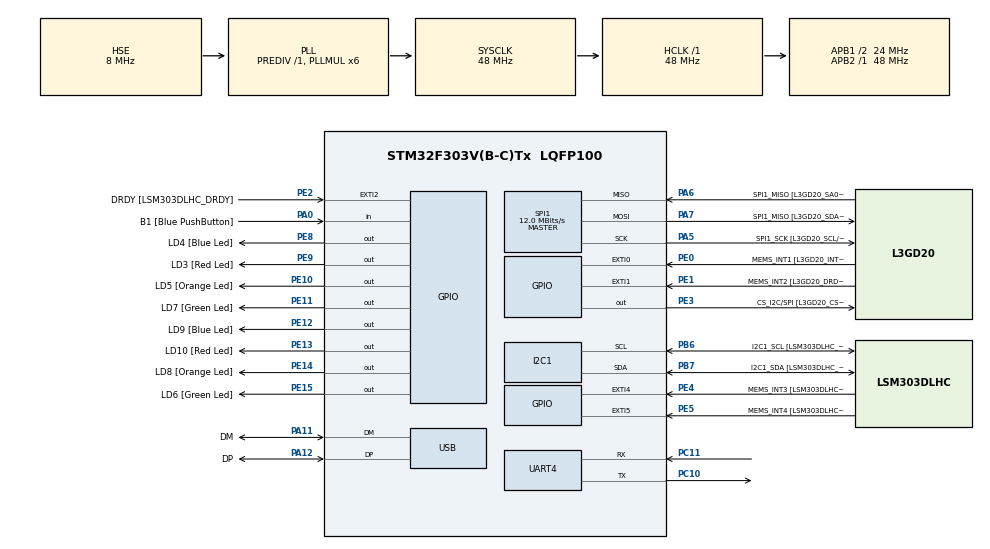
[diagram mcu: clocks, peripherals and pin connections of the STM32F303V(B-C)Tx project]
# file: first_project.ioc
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I2C1.Timing-I2C=0x2000090E
Mcu.Family=STM32F3
Mcu.Name=STM32F303V(B-C)Tx
Mcu.Package=LQFP100
NVIC.PriorityGroup=NVIC_PRIORITYGROUP_0
NVIC.USB_LP_CAN_RX0_IRQn=true\:0\:0\:false\:false\:true\:false\:true\:true
PA0.GPIO_Label=B1 [Blue PushButton]
PA0.Signal=GPIO_Input
PA11.GPIO_Label=DM
PA11.Mode=Device
PA11.Signal=USB_DM
PA12.GPIO_Label=DP
PA12.Mode=Device
PA12.Signal=USB_DP
PA13.GPIO_Label=SWDIO
PA13.Mode=Serial_Wire
PA13.Signal=SYS_JTMS-SWDIO
PA14.GPIO_Label=SWCLK
PA14.Mode=Serial_Wire
PA14.Signal=SYS_JTCK-SWCLK
PA5.GPIO_Label=SPI1_SCK [L3GD20_SCL/SPC]
PA5.Mode=Full_Duplex_Master
PA5.Signal=SPI1_SCK
PA6.GPIO_Label=SPI1_MISO [L3GD20_SA0/SDO]
PA6.Mode=Full_Duplex_Master
PA6.Signal=SPI1_MISO
PA7.GPIO_Label=SPI1_MISO [L3GD20_SDA/SDI/SDO]
PA7.Mode=Full_Duplex_Master
PA7.Signal=SPI1_MOSI
PB3.GPIO_Label=SWO
PB3.Signal=SYS_JTDO-TRACESWO
PB6.GPIO_Label=I2C1_SCL [LSM303DLHC_SCL]
PB6.GPIO_Pu=GPIO_PULLUP
PB6.Mode=I2C
PB6.Signal=I2C1_SCL
PB7.GPIO_Label=I2C1_SDA [LSM303DLHC_SDA]
PB7.GPIO_Pu=GPIO_PULLUP
PB7.Mode=I2C
PB7.Signal=I2C1_SDA
PC10.Mode=Asynchronous
PC10.Signal=UART4_TX
PC11.Mode=Asynchronous
PC11.Signal=UART4_RX
PC14-OSC32_IN.GPIO_Label=OSC32_IN
PC14-OSC32_IN.Signal=RCC_OSC32_IN
PC15-OSC32_OUT.GPIO_Label=OSC32_OUT
PC15-OSC32_OUT.Signal=RCC_OSC32_OUT
PE0.GPIO_Label=MEMS_INT1 [L3GD20_INT1]
PE0.GPIO_ModeDefaultEXTI=GPIO_MODE_EVT_RISING
PE0.Signal=GPXTI0
PE1.GPIO_Label=MEMS_INT2 [L3GD20_DRDY/INT2]
PE1.GPIO_ModeDefaultEXTI=GPIO_MODE_EVT_RISING
PE1.Signal=GPXTI1
PE10.GPIO_Label=LD5 [Orange Led]
PE10.Signal=GPIO_Output
PE11.GPIO_Label=LD7 [Green Led]
PE11.Signal=GPIO_Output
PE12.GPIO_Label=LD9 [Blue Led]
PE12.Signal=GPIO_Output
PE13.GPIO_Label=LD10 [Red Led]
PE13.Signal=GPIO_Output
PE14.GPIO_Label=LD8 [Orange Led]
PE14.Signal=GPIO_Output
PE15.GPIO_Label=LD6 [Green Led]
PE15.Signal=GPIO_Output
PE2.GPIO_Label=DRDY [LSM303DLHC_DRDY]
PE2.GPIO_ModeDefaultEXTI=GPIO_MODE_EVT_RISING
PE2.Signal=GPXTI2
PE3.GPIO_Label=CS_I2C/SPI [L3GD20_CS_I2C/SPI]
PE3.Signal=GPIO_Output
PE4.GPIO_Label=MEMS_INT3 [LSM303DLHC_INT1]
PE4.GPIO_ModeDefaultEXTI=GPIO_MODE_EVT_RISING
PE4.Signal=GPXTI4
PE5.GPIO_Label=MEMS_INT4 [LSM303DLHC_INT2]
PE5.GPIO_ModeDefaultEXTI=GPIO_MODE_EVT_RISING
PE5.Signal=GPXTI5
PE8.GPIO_Label=LD4 [Blue Led]
PE8.Signal=GPIO_Output
PE9.GPIO_Label=LD3 [Red Led]
PE9.Signal=GPIO_Output
PF0-OSC_IN.GPIO_Label=OSC_IN
PF0-OSC_IN.Mode=HSE-External-Clock-Source
PF0-OSC_IN.Signal=RCC_OSC_IN
PF1-OSC_OUT.GPIO_Label=OSC_OUT
PF1-OSC_OUT.Signal=RCC_OSC_OUT
ProjectManager.HeapSize=0x200
ProjectManager.StackSize=0x400
ProjectManager.TargetToolchain=Makefile
RCC.AHBFreq_Value=48000000
RCC.APB1CLKDivider=RCC_HCLK_DIV2
RCC.APB1Freq_Value=24000000
RCC.APB1TimFreq_Value=48000000
RCC.APB2Freq_Value=48000000
RCC.APB2TimFreq_Value=48000000
RCC.CortexFreq_Value=48000000
RCC.HCLKFreq_Value=48000000
RCC.HSE_VALUE=8000000
RCC.HSI_VALUE=8000000
RCC.LSE_VALUE=32768
RCC.PLLMUL=RCC_PLL_MUL6
RCC.SYSCLKFreq_VALUE=48000000
RCC.SYSCLKSourceVirtual=RCC_SYSCLKSOURCE_PLLCLK
RCC.USBFreq_Value=48000000
SPI1.BaudRatePrescaler=SPI_BAUDRATEPRESCALER_4
SPI1.BaudRatePrescaler-Full_Duplex_Master=SPI_BAUDRATEPRESCALER_2
SPI1.CalculateBaudRate=12.0 MBits/s
SPI1.CalculateBaudRate-Full_Duplex_Master=24.0 MBits/s
SPI1.Direction=SPI_DIRECTION_2LINES
SPI1.Mode=SPI_MODE_MASTER
SPI1.Mode-Full_Duplex_Master=SPI_MODE_MASTER
SPI1.VirtualType=VM_MASTER
USB_DEVICE.CLASS_NAME_FS=CDC
USB_DEVICE.VirtualMode=Cdc
USB_DEVICE.VirtualModeFS=Cdc_FS
VP_USB_DEVICE_VS_USB_DEVICE_CDC_FS.Mode=CDC_FS
board=STM32F3DISCOVERY

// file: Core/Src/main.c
/* USER CODE BEGIN Header */
/**
  ******************************************************************************
  * @file           : main.c
  * @brief          : Main program body
  ******************************************************************************
  * @attention
  *
  * Copyright (c) 2024 STMicroelectronics.
  * All rights reserved.
  *
  * This software is licensed under terms that can be found in the LICENSE file
  * in the root directory of this software component.
  * If no LICENSE file comes with this software, it is provided AS-IS.
  *
  ******************************************************************************
  */
/* USER CODE END Header */
#include "main.h"
#include "usb_device.h"

/* USER CODE BEGIN PD */
#define ABS(x)         (x < 0) ? (-x) : x

#define L3G_Sensitivity_250dps     (float)   114.285f         /*!< gyroscope sensitivity with 250 dps full scale [LSB/dps] */
#define L3G_Sensitivity_500dps     (float)    57.1429f        /*!< gyroscope sensitivity with 500 dps full scale [LSB/dps] */
#define L3G_Sensitivity_2000dps    (float)    14.285f	      /*!< gyroscope sensitivity with 2000 dps full scale [LSB/dps] */
#define PI                         (float)     3.14159265f

#define LSM_Acc_Sensitivity_2g     (float)     1.0f            /*!< accelerometer sensitivity with 2 g full scale [LSB/mg] */
#define LSM_Acc_Sensitivity_4g     (float)     0.5f            /*!< accelerometer sensitivity with 4 g full scale [LSB/mg] */
#define LSM_Acc_Sensitivity_8g     (float)     0.25f           /*!< accelerometer sensitivity with 8 g full scale [LSB/mg] */
#define LSM_Acc_Sensitivity_16g    (float)     0.0834f         /*!< accelerometer sensitivity with 12 g full scale [LSB/mg] */
/* USER CODE END PD */

I2C_HandleTypeDef hi2c1;

SPI_HandleTypeDef hspi1;

UART_HandleTypeDef huart4;

/* USER CODE BEGIN PV */

__IO uint32_t TimingDelay = 0;
__IO uint32_t UserButtonPressed = 0;
__IO float HeadingValue = 0.0f;
float MagBuffer[3] = {0.0f}, AccBuffer[3] = {0.0f}, Buffer[3] = {0.0f};
uint8_t Xval, Yval = 0x00;

__IO uint8_t DataReady = 0;
__IO uint8_t PrevXferComplete = 1;
__IO uint32_t USBConnectTimeOut = 100;

float fNormAcc,fSinRoll,fCosRoll,fSinPitch,fCosPitch = 0.0f, RollAng = 0.0f, PitchAng = 0.0f;
float fTiltedX,fTiltedY = 0.0f;

/* USER CODE END PV */

void SystemClock_Config(void);
static void MX_GPIO_Init(void);
static void MX_I2C1_Init(void);
static void MX_SPI1_Init(void);
static void MX_UART4_Init(void);

/* USER CODE BEGIN 0 */

uint16_t LED_PIN[] = {LD3_Pin, LD5_Pin, LD7_Pin, LD9_Pin, LD10_Pin, LD8_Pin, LD6_Pin, LD4_Pin};
uint8_t CLOCK_MODE = 0;

/* USER CODE END 0 */

int main(void)
{

  /* MCU Configuration--------------------------------------------------------*/

  /* Reset of all peripherals, Initializes the Flash interface and the Systick. */
  HAL_Init();

  /* Configure the system clock */
  SystemClock_Config();

  /* Initialize all configured peripherals */
  MX_GPIO_Init();
  MX_I2C1_Init();
  MX_SPI1_Init();
  MX_UART4_Init();
  MX_USB_DEVICE_Init();
  /* USER CODE BEGIN 2 */
  uint8_t i = 0;
  /* USER CODE END 2 */

  /* Infinite loop */
  while (1)
  {

    /* USER CODE BEGIN 3 */

    TurnLEDsOff();

    Demo_CompassConfig();

    /* Waiting User Button is pressed */
      /* Wait for data ready */
    while(DataReady !=0x05)
    {}
    DataReady = 0x00;

      /* Read Compass data */
    Demo_CompassReadMag(MagBuffer);
    Demo_CompassReadAcc(AccBuffer);

    // for(i=0;i<3;i++)
    //   AccBuffer[i] /= 100.0f;

    // fNormAcc = sqrt((AccBuffer[0]*AccBuffer[0])+(AccBuffer[1]*AccBuffer[1])+(AccBuffer[2]*AccBuffer[2]));

    // fSinRoll = -AccBuffer[1]/fNormAcc;
    // fCosRoll = sqrt(1.0-(fSinRoll * fSinRoll));
    // fSinPitch = AccBuffer[0]/fNormAcc;
    // fCosPitch = sqrt(1.0-(fSinPitch * fSinPitch));
    // if ( fSinRoll >0)
    // {
    //   if (fCosRoll>0)
    //   {
    //     RollAng = acos(fCosRoll)*180/PI;
    //   }
    //   else
    //   {
    //     RollAng = acos(fCosRoll)*180/PI + 180;
    //   }
    // }
    // else
    // {
    //   if (fCosRoll>0)
    //   {
    //     RollAng = acos(fCosRoll)*180/PI + 360;
    //   }
    //   else
    //   {
    //     RollAng = acos(fCosRoll)*180/PI + 180;
    //   }
    // }

    // if ( fSinPitch >0)
    // {
    //   if (fCosPitch>0)
    //   {
    //       PitchAng = acos(fCosPitch)*180/PI;
    //   }
    //   else
    //   {
    //     PitchAng = acos(fCosPitch)*180/PI + 180;
    //   }
    // }
    // else
    // {
    //   if (fCosPitch>0)
    //   {
    //       PitchAng = acos(fCosPitch)*180/PI + 360;
    //   }
    //   else
    //   {
    //     PitchAng = acos(fCosPitch)*180/PI + 180;
    //   }
    // }

    // if (RollAng >=360)
    // {
    //   RollAng = RollAng - 360;
    // }

    // if (PitchAng >=360)
    // {
    //   PitchAng = PitchAng - 360;
    // }

    // fTiltedX = MagBuffer[0]*fCosPitch+MagBuffer[2]*fSinPitch;
    // fTiltedY = MagBuffer[0]*fSinRoll*fSinPitch+MagBuffer[1]*fCosRoll-MagBuffer[1]*fSinRoll*fCosPitch;

    // HeadingValue = (float) ((atan2f((float)fTiltedY,(float)fTiltedX))*180)/PI;

    // if (HeadingValue < 0)
    // {
    //   HeadingValue = HeadingValue + 360;
    // }

    // if ((RollAng <= 40.0f) && (PitchAng <= 40.0f))
    // {
    //   if (((HeadingValue < 25.0f)&&(HeadingValue >= 0.0f))||((HeadingValue >=340.0f)&&(HeadingValue <= 360.0f)))
    //   {
    //     TurnLEDOn(4);
    //   }
    //   else  if ((HeadingValue <70.0f)&&(HeadingValue >= 25.0f))
    //   {
    //     TurnLEDOn(3);
    //   }
    //   else  if ((HeadingValue < 115.0f)&&(HeadingValue >= 70.0f))
    //   {
    //     TurnLEDOn(2);
    //   }
    //   else  if ((HeadingValue <160.0f)&&(HeadingValue >= 115.0f))
    //   {
    //     TurnLEDOn(1);
    //   }
    //   else  if ((HeadingValue <205.0f)&&(HeadingValue >= 160.0f))
    //   {
    //     TurnLEDOn(0);
    //   }
    //   else  if ((HeadingValue <250.0f)&&(HeadingValue >= 205.0f))
    //   {
    //     TurnLEDOn(7);
    //   }
    //   else  if ((HeadingValue < 295.0f)&&(HeadingValue >= 250.0f))
    //   {
    //     TurnLEDOn(6);
    //   }
    //   else  if ((HeadingValue < 340.0f)&&(HeadingValue >= 295.0f))
    //   {
    //     TurnLEDOn(5);
    //   }
    // }
    // else
    // {
    //   /* Toggle All LEDs */
    //   for (i = 0; i < 8; i++)
    //   {
    //     HAL_GPIO_TogglePin(GPIOE, LED_PIN[i]);
    //   }
    //   /* Delay 50ms */
    //   HAL_Delay(5);
    // }
    HeadingValue = COMPASSACCELERO_IO_Read();

    uint8_t Test[] = "Hello World !!!\r\n"; //Data to send
    CDC_Transmit_FS(Test, sizeof(Test)); // Sending via USB
    CDC_Transmit_FS(HeadingValue, sizeof(HeadingValue)); // Sending via USB
    // HAL_GPIO_TogglePin(GPIOE, LED_PIN[i]); // Turning on LED
    // HAL_UART_Transmit(&huart4, Test, sizeof(Test), 10);// Sending in normal mode
    // HAL_Delay(1000);
    // HAL_GPIO_TogglePin(GPIOE, LED_PIN[i]); // Turning off LED
    // i = (i + 1) % 8; // Next LED
  }
  /* USER CODE END 3 */
}

void SystemClock_Config(void)
{
  RCC_OscInitTypeDef RCC_OscInitStruct = {0};
  RCC_ClkInitTypeDef RCC_ClkInitStruct = {0};
  RCC_PeriphCLKInitTypeDef PeriphClkInit = {0};

  /** Initializes the RCC Oscillators according to the specified parameters
  * in the RCC_OscInitTypeDef structure.
  */
  RCC_OscInitStruct.OscillatorType = RCC_OSCILLATORTYPE_HSI|RCC_OSCILLATORTYPE_HSE;
  RCC_OscInitStruct.HSEState = RCC_HSE_BYPASS;
  RCC_OscInitStruct.HSEPredivValue = RCC_HSE_PREDIV_DIV1;
  RCC_OscInitStruct.HSIState = RCC_HSI_ON;
  RCC_OscInitStruct.HSICalibrationValue = RCC_HSICALIBRATION_DEFAULT;
  RCC_OscInitStruct.PLL.PLLState = RCC_PLL_ON;
  RCC_OscInitStruct.PLL.PLLSource = RCC_PLLSOURCE_HSE;
  RCC_OscInitStruct.PLL.PLLMUL = RCC_PLL_MUL6;
  if (HAL_RCC_OscConfig(&RCC_OscInitStruct) != HAL_OK)
  {
    Error_Handler();
  }

  /** Initializes the CPU, AHB and APB buses clocks
  */
  RCC_ClkInitStruct.ClockType = RCC_CLOCKTYPE_HCLK|RCC_CLOCKTYPE_SYSCLK
                              |RCC_CLOCKTYPE_PCLK1|RCC_CLOCKTYPE_PCLK2;
  RCC_ClkInitStruct.SYSCLKSource = RCC_SYSCLKSOURCE_PLLCLK;
  RCC_ClkInitStruct.AHBCLKDivider = RCC_SYSCLK_DIV1;
  RCC_ClkInitStruct.APB1CLKDivider = RCC_HCLK_DIV2;
  RCC_ClkInitStruct.APB2CLKDivider = RCC_HCLK_DIV1;

  if (HAL_RCC_ClockConfig(&RCC_ClkInitStruct, FLASH_LATENCY_1) != HAL_OK)
  {
    Error_Handler();
  }
  PeriphClkInit.PeriphClockSelection = RCC_PERIPHCLK_USB|RCC_PERIPHCLK_UART4
                              |RCC_PERIPHCLK_I2C1;
  PeriphClkInit.Uart4ClockSelection = RCC_UART4CLKSOURCE_PCLK1;
  PeriphClkInit.I2c1ClockSelection = RCC_I2C1CLKSOURCE_HSI;
  PeriphClkInit.USBClockSelection = RCC_USBCLKSOURCE_PLL;
  if (HAL_RCCEx_PeriphCLKConfig(&PeriphClkInit) != HAL_OK)
  {
    Error_Handler();
  }
}

static void MX_I2C1_Init(void)
{

  hi2c1.Instance = I2C1;
  hi2c1.Init.Timing = 0x2000090E;
  hi2c1.Init.OwnAddress1 = 0;
  hi2c1.Init.AddressingMode = I2C_ADDRESSINGMODE_7BIT;
  hi2c1.Init.DualAddressMode = I2C_DUALADDRESS_DISABLE;
  hi2c1.Init.OwnAddress2 = 0;
  hi2c1.Init.OwnAddress2Masks = I2C_OA2_NOMASK;
  hi2c1.Init.GeneralCallMode = I2C_GENERALCALL_DISABLE;
  hi2c1.Init.NoStretchMode = I2C_NOSTRETCH_DISABLE;
  if (HAL_I2C_Init(&hi2c1) != HAL_OK)
  {
    Error_Handler();
  }

  /** Configure Analogue filter
  */
  if (HAL_I2CEx_ConfigAnalogFilter(&hi2c1, I2C_ANALOGFILTER_ENABLE) != HAL_OK)
  {
    Error_Handler();
  }

  /** Configure Digital filter
  */
  if (HAL_I2CEx_ConfigDigitalFilter(&hi2c1, 0) != HAL_OK)
  {
    Error_Handler();
  }

}

static void MX_SPI1_Init(void)
{

  /* SPI1 parameter configuration*/
  hspi1.Instance = SPI1;
  hspi1.Init.Mode = SPI_MODE_MASTER;
  hspi1.Init.Direction = SPI_DIRECTION_2LINES;
  hspi1.Init.DataSize = SPI_DATASIZE_4BIT;
  hspi1.Init.CLKPolarity = SPI_POLARITY_LOW;
  hspi1.Init.CLKPhase = SPI_PHASE_1EDGE;
  hspi1.Init.NSS = SPI_NSS_SOFT;
  hspi1.Init.BaudRatePrescaler = SPI_BAUDRATEPRESCALER_4;
  hspi1.Init.FirstBit = SPI_FIRSTBIT_MSB;
  hspi1.Init.TIMode = SPI_TIMODE_DISABLE;
  hspi1.Init.CRCCalculation = SPI_CRCCALCULATION_DISABLE;
  hspi1.Init.CRCPolynomial = 7;
  hspi1.Init.CRCLength = SPI_CRC_LENGTH_DATASIZE;
  hspi1.Init.NSSPMode = SPI_NSS_PULSE_ENABLE;
  if (HAL_SPI_Init(&hspi1) != HAL_OK)
  {
    Error_Handler();
  }

}

static void MX_UART4_Init(void)
{

  huart4.Instance = UART4;
  huart4.Init.BaudRate = 115200;
  huart4.Init.WordLength = UART_WORDLENGTH_8B;
  huart4.Init.StopBits = UART_STOPBITS_1;
  huart4.Init.Parity = UART_PARITY_NONE;
  huart4.Init.Mode = UART_MODE_TX_RX;
  huart4.Init.HwFlowCtl = UART_HWCONTROL_NONE;
  huart4.Init.OverSampling = UART_OVERSAMPLING_16;
  huart4.Init.OneBitSampling = UART_ONE_BIT_SAMPLE_DISABLE;
  huart4.AdvancedInit.AdvFeatureInit = UART_ADVFEATURE_NO_INIT;
  if (HAL_UART_Init(&huart4) != HAL_OK)
  {
    Error_Handler();
  }

}

static void MX_GPIO_Init(void)
{
  GPIO_InitTypeDef GPIO_InitStruct = {0};

  /* GPIO Ports Clock Enable */
  __HAL_RCC_GPIOE_CLK_ENABLE();
  __HAL_RCC_GPIOC_CLK_ENABLE();
  __HAL_RCC_GPIOF_CLK_ENABLE();
  __HAL_RCC_GPIOA_CLK_ENABLE();
  __HAL_RCC_GPIOB_CLK_ENABLE();

  /*Configure GPIO pin Output Level */
  HAL_GPIO_WritePin(GPIOE, CS_I2C_SPI_Pin|LD4_Pin|LD3_Pin|LD5_Pin
                          |LD7_Pin|LD9_Pin|LD10_Pin|LD8_Pin
                          |LD6_Pin, GPIO_PIN_RESET);

  /*Configure GPIO pins : DRDY_Pin MEMS_INT3_Pin MEMS_INT4_Pin MEMS_INT1_Pin
                           MEMS_INT2_Pin */
  GPIO_InitStruct.Pin = DRDY_Pin|MEMS_INT3_Pin|MEMS_INT4_Pin|MEMS_INT1_Pin
                          |MEMS_INT2_Pin;
  GPIO_InitStruct.Mode = GPIO_MODE_EVT_RISING;
  GPIO_InitStruct.Pull = GPIO_NOPULL;
  HAL_GPIO_Init(GPIOE, &GPIO_InitStruct);

  /*Configure GPIO pins : CS_I2C_SPI_Pin LD4_Pin LD3_Pin LD5_Pin
                           LD7_Pin LD9_Pin LD10_Pin LD8_Pin
                           LD6_Pin */
  GPIO_InitStruct.Pin = CS_I2C_SPI_Pin|LD4_Pin|LD3_Pin|LD5_Pin
                          |LD7_Pin|LD9_Pin|LD10_Pin|LD8_Pin
                          |LD6_Pin;
  GPIO_InitStruct.Mode = GPIO_MODE_OUTPUT_PP;
  GPIO_InitStruct.Pull = GPIO_NOPULL;
  GPIO_InitStruct.Speed = GPIO_SPEED_FREQ_LOW;
  HAL_GPIO_Init(GPIOE, &GPIO_InitStruct);

  /*Configure GPIO pin : B1_Pin */
  GPIO_InitStruct.Pin = B1_Pin;
  GPIO_InitStruct.Mode = GPIO_MODE_INPUT;
  GPIO_InitStruct.Pull = GPIO_NOPULL;
  HAL_GPIO_Init(B1_GPIO_Port, &GPIO_InitStruct);

}

/* USER CODE BEGIN 4 */

void TurnLEDsOff(void) {
  for (int i = 0; i < 8; i++) {
    HAL_GPIO_WritePin(GPIOE, LED_PIN[i], GPIO_PIN_RESET);
  }
}

void TurnLEDOn(uint16_t led)
{
  for (int i = 0; i < 8; i++)
  {
    if (led == i)
    {
      HAL_GPIO_WritePin(GPIOE, led, GPIO_PIN_SET);
    }
    else
    {
      HAL_GPIO_WritePin(GPIOE, LED_PIN[i], GPIO_PIN_RESET);
    }
  }
}

void Demo_CompassConfig(void)
{
  COMPASSACCELERO_IO_Init();
}

/* USER CODE END 4 */

void Error_Handler(void)
{
  __disable_irq();
  while (1)
  {
  }
}
